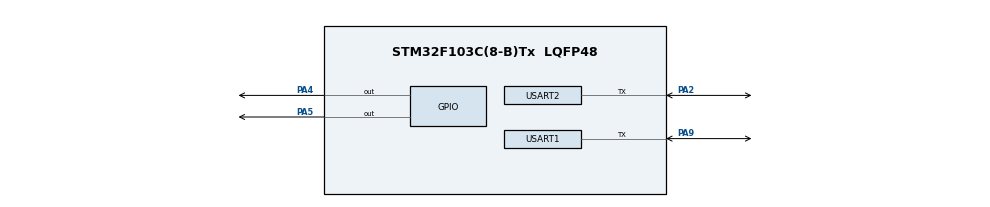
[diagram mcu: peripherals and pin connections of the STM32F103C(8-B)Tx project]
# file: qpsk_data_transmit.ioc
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Dma.Request0=TIM3_CH4/UP
Dma.TIM3_CH4/UP.0.Direction=DMA_MEMORY_TO_PERIPH
Dma.TIM3_CH4/UP.0.Instance=DMA1_Channel3
Dma.TIM3_CH4/UP.0.MemDataAlignment=DMA_MDATAALIGN_WORD
Dma.TIM3_CH4/UP.0.MemInc=DMA_MINC_ENABLE
Dma.TIM3_CH4/UP.0.Mode=DMA_NORMAL
Dma.TIM3_CH4/UP.0.PeriphDataAlignment=DMA_PDATAALIGN_WORD
Dma.TIM3_CH4/UP.0.PeriphInc=DMA_PINC_DISABLE
Dma.TIM3_CH4/UP.0.Priority=DMA_PRIORITY_HIGH
Mcu.Family=STM32F1
Mcu.Name=STM32F103C(8-B)Tx
Mcu.Package=LQFP48
NVIC.DMA1_Channel3_IRQn=true\:0\:0\:false\:false\:true\:false\:true\:true
NVIC.PriorityGroup=NVIC_PRIORITYGROUP_4
PA2.Mode=Half_duplex(single_wire_mode)
PA2.Signal=USART2_TX
PA4.GPIO_Speed=GPIO_SPEED_FREQ_HIGH
PA4.Signal=GPIO_Output
PA5.GPIO_Speed=GPIO_SPEED_FREQ_HIGH
PA5.Signal=GPIO_Output
PA9.Mode=Half_duplex(single_wire_mode)
PA9.Signal=USART1_TX
ProjectManager.HeapSize=0x200
ProjectManager.StackSize=0x400
ProjectManager.TargetToolchain=STM32CubeIDE
RCC.AHBFreq_Value=8000000
RCC.APB1Freq_Value=8000000
RCC.APB1TimFreq_Value=8000000
RCC.APB2Freq_Value=8000000
RCC.APB2TimFreq_Value=8000000
RCC.HCLKFreq_Value=8000000
TIM3.Period=15
USART1.VirtualMode=VM_ASYNC
USART2.VirtualMode=VM_ASYNC
VP_SYS_VS_ND.Mode=No_Debug
VP_TIM3_VS_ClockSourceINT.Mode=Internal
board=custom

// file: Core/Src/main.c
/* USER CODE BEGIN Header */
/**
  ******************************************************************************
  * @file           : main.c
  * @brief          : Main program body
  ******************************************************************************
  * @attention
  *
  * Copyright (c) 2026 STMicroelectronics.
  * All rights reserved.
  *
  * This software is licensed under terms that can be found in the LICENSE file
  * in the root directory of this software component.
  * If no LICENSE file comes with this software, it is provided AS-IS.
  *
  ******************************************************************************
  */
/* USER CODE END Header */
#include "main.h"

/* USER CODE BEGIN PD */

#define I_SET (1 << 4)
#define I_RST (1 << 20)
#define Q_SET (1 << 5)
#define Q_RST (1 << 21)

#define MAX_PACKET_SIZE 100

/* USER CODE END PD */

TIM_HandleTypeDef htim3;
DMA_HandleTypeDef hdma_tim3_ch4_up;

UART_HandleTypeDef huart1;
UART_HandleTypeDef huart2;

/* USER CODE BEGIN PV */

//Using GPIOA Pin 4 and 5 output to represent 00, 01, 10, 11 (Pin4Pin5)
const uint32_t qpsk_lut[4] = {
		I_RST | Q_RST, //00
		I_RST | Q_SET, //01
		I_SET | Q_RST, //10
		I_SET | Q_SET //11
};

//storing the converted bsrr data
uint32_t qpsk_dma_buffer[MAX_PACKET_SIZE];
//Some random data to simulate data communication
uint8_t radio_data[] = {0xAA, 0xDE, 0x23};

/* USER CODE END PV */

void SystemClock_Config(void);
static void MX_GPIO_Init(void);
static void MX_DMA_Init(void);
static void MX_USART1_UART_Init(void);
static void MX_USART2_UART_Init(void);
static void MX_TIM3_Init(void);

int main(void)
{

  /* MCU Configuration--------------------------------------------------------*/

  /* Reset of all peripherals, Initializes the Flash interface and the Systick. */
  HAL_Init();

  /* Configure the system clock */
  SystemClock_Config();

  /* Initialize all configured peripherals */
  MX_GPIO_Init();
  MX_DMA_Init();
  MX_USART1_UART_Init();
  MX_USART2_UART_Init();
  MX_TIM3_Init();

  /* Infinite loop */
  /* USER CODE BEGIN WHILE */
  while (1)
  {
    qpsk_data_transmit(radio_data, 3, qpsk_dma_buffer);

	  HAL_Delay(1000);
    /* USER CODE END WHILE */

  }
}

void SystemClock_Config(void)
{
  RCC_OscInitTypeDef RCC_OscInitStruct = {0};
  RCC_ClkInitTypeDef RCC_ClkInitStruct = {0};

  /** Initializes the RCC Oscillators according to the specified parameters
  * in the RCC_OscInitTypeDef structure.
  */
  RCC_OscInitStruct.OscillatorType = RCC_OSCILLATORTYPE_HSI;
  RCC_OscInitStruct.HSIState = RCC_HSI_ON;
  RCC_OscInitStruct.HSICalibrationValue = RCC_HSICALIBRATION_DEFAULT;
  RCC_OscInitStruct.PLL.PLLState = RCC_PLL_NONE;
  if (HAL_RCC_OscConfig(&RCC_OscInitStruct) != HAL_OK)
  {
    Error_Handler();
  }

  /** Initializes the CPU, AHB and APB buses clocks
  */
  RCC_ClkInitStruct.ClockType = RCC_CLOCKTYPE_HCLK|RCC_CLOCKTYPE_SYSCLK
                              |RCC_CLOCKTYPE_PCLK1|RCC_CLOCKTYPE_PCLK2;
  RCC_ClkInitStruct.SYSCLKSource = RCC_SYSCLKSOURCE_HSI;
  RCC_ClkInitStruct.AHBCLKDivider = RCC_SYSCLK_DIV1;
  RCC_ClkInitStruct.APB1CLKDivider = RCC_HCLK_DIV1;
  RCC_ClkInitStruct.APB2CLKDivider = RCC_HCLK_DIV1;

  if (HAL_RCC_ClockConfig(&RCC_ClkInitStruct, FLASH_LATENCY_0) != HAL_OK)
  {
    Error_Handler();
  }
}

static void MX_TIM3_Init(void)
{

  TIM_ClockConfigTypeDef sClockSourceConfig = {0};
  TIM_MasterConfigTypeDef sMasterConfig = {0};

  htim3.Instance = TIM3;
  htim3.Init.Prescaler = 0;
  htim3.Init.CounterMode = TIM_COUNTERMODE_UP;
  htim3.Init.Period = 15;
  htim3.Init.ClockDivision = TIM_CLOCKDIVISION_DIV1;
  htim3.Init.AutoReloadPreload = TIM_AUTORELOAD_PRELOAD_DISABLE;
  if (HAL_TIM_Base_Init(&htim3) != HAL_OK)
  {
    Error_Handler();
  }
  sClockSourceConfig.ClockSource = TIM_CLOCKSOURCE_INTERNAL;
  if (HAL_TIM_ConfigClockSource(&htim3, &sClockSourceConfig) != HAL_OK)
  {
    Error_Handler();
  }
  sMasterConfig.MasterOutputTrigger = TIM_TRGO_RESET;
  sMasterConfig.MasterSlaveMode = TIM_MASTERSLAVEMODE_DISABLE;
  if (HAL_TIMEx_MasterConfigSynchronization(&htim3, &sMasterConfig) != HAL_OK)
  {
    Error_Handler();
  }

}

static void MX_USART1_UART_Init(void)
{

  huart1.Instance = USART1;
  huart1.Init.BaudRate = 115200;
  huart1.Init.WordLength = UART_WORDLENGTH_8B;
  huart1.Init.StopBits = UART_STOPBITS_1;
  huart1.Init.Parity = UART_PARITY_NONE;
  huart1.Init.Mode = UART_MODE_TX_RX;
  huart1.Init.HwFlowCtl = UART_HWCONTROL_NONE;
  huart1.Init.OverSampling = UART_OVERSAMPLING_16;
  if (HAL_HalfDuplex_Init(&huart1) != HAL_OK)
  {
    Error_Handler();
  }

}

static void MX_USART2_UART_Init(void)
{

  huart2.Instance = USART2;
  huart2.Init.BaudRate = 115200;
  huart2.Init.WordLength = UART_WORDLENGTH_8B;
  huart2.Init.StopBits = UART_STOPBITS_1;
  huart2.Init.Parity = UART_PARITY_NONE;
  huart2.Init.Mode = UART_MODE_TX_RX;
  huart2.Init.HwFlowCtl = UART_HWCONTROL_NONE;
  huart2.Init.OverSampling = UART_OVERSAMPLING_16;
  if (HAL_HalfDuplex_Init(&huart2) != HAL_OK)
  {
    Error_Handler();
  }

}

static void MX_DMA_Init(void)
{

  /* DMA controller clock enable */
  __HAL_RCC_DMA1_CLK_ENABLE();

  /* DMA interrupt init */
  /* DMA1_Channel3_IRQn interrupt configuration */
  HAL_NVIC_SetPriority(DMA1_Channel3_IRQn, 0, 0);
  HAL_NVIC_EnableIRQ(DMA1_Channel3_IRQn);

}

static void MX_GPIO_Init(void)
{
  GPIO_InitTypeDef GPIO_InitStruct = {0};

  /* GPIO Ports Clock Enable */
  __HAL_RCC_GPIOA_CLK_ENABLE();

  /*Configure GPIO pin Output Level */
  HAL_GPIO_WritePin(GPIOA, GPIO_PIN_4|GPIO_PIN_5, GPIO_PIN_RESET);

  /*Configure GPIO pins : PA4 PA5 */
  GPIO_InitStruct.Pin = GPIO_PIN_4|GPIO_PIN_5;
  GPIO_InitStruct.Mode = GPIO_MODE_OUTPUT_PP;
  GPIO_InitStruct.Pull = GPIO_NOPULL;
  GPIO_InitStruct.Speed = GPIO_SPEED_FREQ_HIGH;
  HAL_GPIO_Init(GPIOA, &GPIO_InitStruct);

}

/* USER CODE BEGIN 4 */

void HAL_DMA_XferCpltCallback(DMA_HandleTypeDef *hdma) {
    if (hdma == &hdma_tim3_ch4_up) {
        //Stop the timer
        HAL_TIM_Base_Stop(&htim3);

        //Disable DMA request connection
        __HAL_TIM_DISABLE_DMA(&htim3, TIM_DMA_UPDATE);

        GPIOA->BSRR = (1 << 20) | (1 << 21);
    }
}

void pack_qpsk_buffer(uint8_t *data_in, uint16_t data_len, uint32_t* qpsk_dma_buffer) {
    for (int i = 0; i < data_len; i++) {
        // Split 1 byte into four 2-bit symbols and map to desired BSRR format
        qpsk_dma_buffer[i*4 + 0] = qpsk_lut[(data_in[i] >> 6) & 0x03]; // Bits 7-6
        qpsk_dma_buffer[i*4 + 1] = qpsk_lut[(data_in[i] >> 4) & 0x03]; // Bits 5-4
        qpsk_dma_buffer[i*4 + 2] = qpsk_lut[(data_in[i] >> 2) & 0x03]; // Bits 3-2
        qpsk_dma_buffer[i*4 + 3] = qpsk_lut[(data_in[i] >> 0) & 0x03]; // Bits 1-0
    }
}

void qpsk_data_transmit(uint8_t* data, uint16_t data_len, uint32_t* dma_buffer){
	//Check status
	if(HAL_DMA_GetState(&hdma_tim3_ch4_up) != HAL_DMA_STATE_READY) {
        return; // Or handle error
    }

	//Prepare data
	uint16_t num_symbols = data_len * 4;
	pack_qpsk_buffer(data, data_len, dma_buffer);

	__HAL_DMA_CLEAR_FLAG(&hdma_tim3_ch4_up, DMA_FLAG_TC3 | DMA_FLAG_TE3);
	HAL_DMA_Start(&hdma_tim3_ch4_up, (uint32_t)dma_buffer, (uint32_t)&GPIOA->BSRR, num_symbols);
	__HAL_TIM_ENABLE_DMA(&htim3, TIM_DMA_UPDATE);
	HAL_TIM_Base_Start(&htim3);
}

/* USER CODE END 4 */

void Error_Handler(void)
{
  __disable_irq();
  while (1)
  {
  }
}
